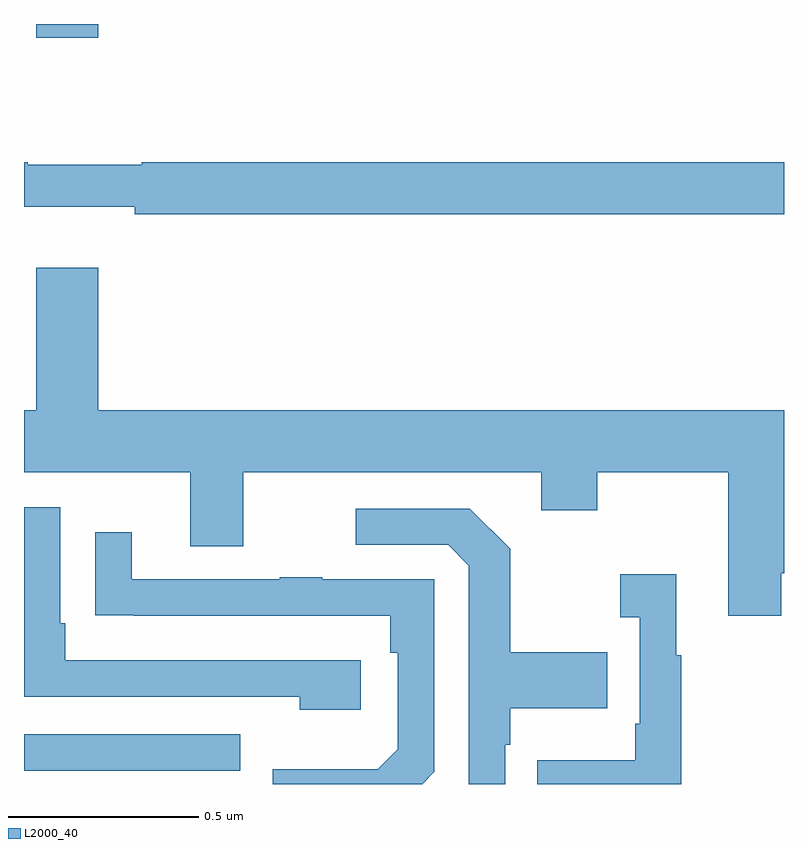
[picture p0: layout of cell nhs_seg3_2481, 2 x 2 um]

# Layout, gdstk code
import gdstk
lib = gdstk.Library(unit=1e-6, precision=1e-09)
def R(c, l, rs):  # rectangles x0, y0, x1, y1
    for r in rs: c.add(gdstk.rectangle(r[:2], r[2:], *l))
def P(c, l, *ps):  # polygons
    for p in ps: c.add(gdstk.Polygon(p, *l))
L2000_40 = (2000, 40)

nhs_seg3_2481 = lib.new_cell('nhs_seg3_2481')
R(nhs_seg3_2481, L2000_40, [(141,729.435,141.569,729.531), (141.032,731.364,141.196,731.4)])
P(nhs_seg3_2481, L2000_40, [(143,731.036),(141.31,731.036),(141.31,731.029),(141.01,731.029),(141.01,731.036),(141,731.036),(141,730.919),(141.292,730.919),(141.292,730.9),(143,730.9)],
  [(142.993,729.955),(143,729.955),(143,730.384),(141.196,730.384),(141.196,730.759),(141.032,730.759),(141.032,730.384),(141,730.384),(141,730.22),(141.437,730.22),(141.437,730.026),(141.577,730.026),(141.577,730.22),(142.361,730.22),(142.361,730.121),(142.509,730.121),(142.509,730.22),(142.853,730.22),(142.853,729.843),(142.993,729.843)],
  [(141.886,729.726),(141.109,729.726),(141.109,729.823),(141.096,729.823),(141.096,730.128),(141,730.128),(141,729.63),(141.725,729.63),(141.725,729.596),(141.886,729.596)],
  [(142.266,729.503),(142.279,729.503),(142.279,729.599),(142.535,729.599),(142.535,729.747),(142.279,729.747),(142.279,730.019),(142.173,730.125),(141.873,730.125),(141.873,730.029),(142.116,730.029),(142.17,729.975),(142.17,729.4),(142.266,729.4)],
  [(142.08,729.432),(142.08,729.939),(141.785,729.939),(141.785,729.944),(141.673,729.944),(141.673,729.939),(141.283,729.939),(141.283,730.063),(141.187,730.063),(141.187,729.844),(141.289,729.844),(141.289,729.843),(141.964,729.843),(141.964,729.746),(141.984,729.746),(141.984,729.492),(141.931,729.439),(141.654,729.439),(141.654,729.4),(142.048,729.4)],
  [(142.729,729.739),(142.717,729.739),(142.717,729.952),(142.569,729.952),(142.569,729.839),(142.62,729.839),(142.62,729.559),(142.608,729.559),(142.608,729.463),(142.351,729.463),(142.351,729.4),(142.729,729.4)])

lib.write_gds('nhs_seg3_2481.gds')
